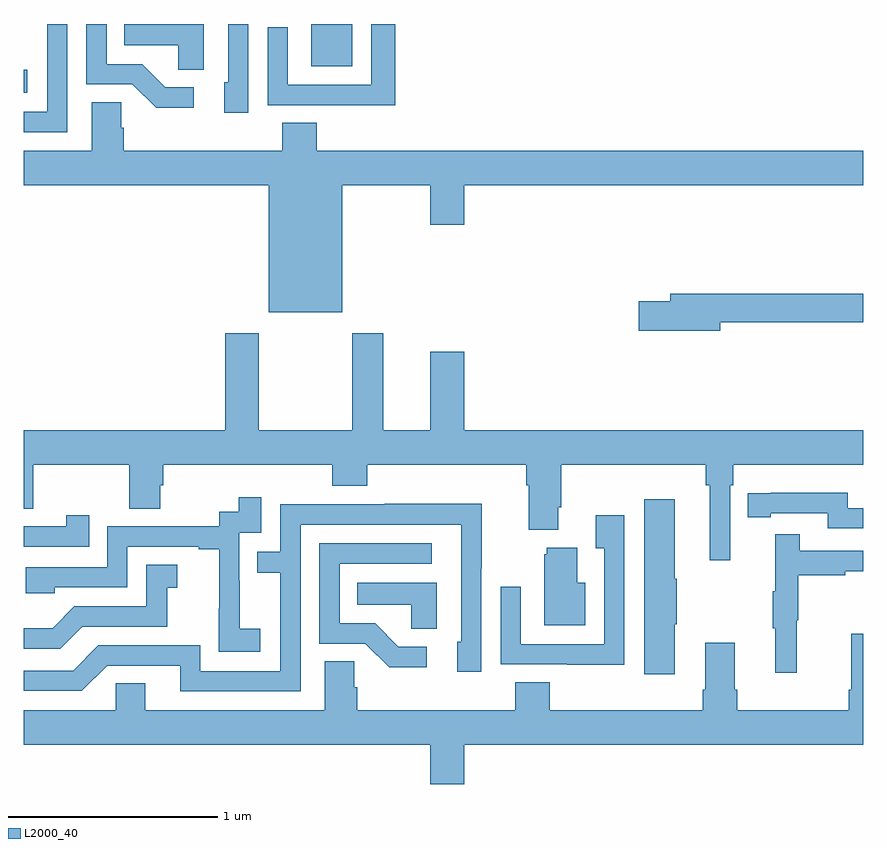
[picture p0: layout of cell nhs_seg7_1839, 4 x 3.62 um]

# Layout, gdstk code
import gdstk
lib = gdstk.Library(unit=1e-6, precision=1e-09)
def R(c, l, rs):  # rectangles x0, y0, x1, y1
    for r in rs: c.add(gdstk.rectangle(r[:2], r[2:], *l))
def P(c, l, *ps):  # polygons
    for p in ps: c.add(gdstk.Polygon(p, *l))
L2000_40 = (2000, 40)

nhs_seg7_1839 = lib.new_cell('nhs_seg7_1839')
R(nhs_seg7_1839, L2000_40, [(235,1051.673,235.018,1051.783), (236.369,1051.799,236.566,1052)])
P(nhs_seg7_1839, L2000_40, [(236.771,1052),(236.655,1052),(236.655,1051.71),(236.259,1051.71),(236.259,1051.984),(236.163,1051.984),(236.163,1051.614),(236.479,1051.614),(236.479,1051.613),(236.771,1051.613)],
  [(235.858,1052),(235.48,1052),(235.48,1051.898),(235.737,1051.898),(235.737,1051.783),(235.858,1051.783)],
  [(235.81,1051.698),(235.675,1051.698),(235.564,1051.809),(235.395,1051.809),(235.395,1052),(235.299,1052),(235.299,1051.713),(235.518,1051.713),(235.631,1051.601),(235.81,1051.601)],
  [(236.07,1052),(235.974,1052),(235.974,1051.722),(235.955,1051.722),(235.955,1051.578),(236.07,1051.578)],
  [(235.209,1052),(235.113,1052),(235.113,1051.581),(235,1051.581),(235,1051.485),(235.209,1051.485)],
  [(236.518,1051.232),(236.936,1051.232),(236.936,1051.044),(237.1,1051.044),(237.1,1051.232),(239,1051.232),(239,1051.396),(236.396,1051.396),(236.396,1051.529),(236.231,1051.529),(236.231,1051.396),(235.478,1051.396),(235.478,1051.505),(235.464,1051.505),(235.464,1051.628),(235.325,1051.628),(235.325,1051.396),(235,1051.396),(235,1051.232),(236.168,1051.232),(236.168,1050.626),(236.518,1050.626)],
  [(238.318,1050.58),(239,1050.58),(239,1050.716),(238.079,1050.716),(238.079,1050.68),(237.93,1050.68),(237.93,1050.538),(238.318,1050.538)],
  [(238.365,1049.804),(238.379,1049.804),(238.379,1049.9),(239,1049.9),(239,1050.064),(237.1,1050.064),(237.1,1050.439),(236.936,1050.439),(236.936,1050.064),(236.713,1050.064),(236.713,1050.526),(236.566,1050.526),(236.566,1050.064),(236.121,1050.064),(236.121,1050.526),(235.961,1050.526),(235.961,1050.064),(235,1050.064),(235,1049.692),(235.047,1049.692),(235.047,1049.9),(235.504,1049.9),(235.504,1049.692),(235.651,1049.692),(235.651,1049.802),(235.664,1049.802),(235.664,1049.9),(236.471,1049.9),(236.471,1049.801),(236.636,1049.801),(236.636,1049.9),(237.395,1049.9),(237.395,1049.804),(237.407,1049.804),(237.407,1049.591),(237.547,1049.591),(237.547,1049.698),(237.56,1049.698),(237.56,1049.9),(238.249,1049.9),(238.249,1049.804),(238.268,1049.804),(238.268,1049.445),(238.365,1049.445)],
  [(239,1049.694),(238.926,1049.694),(238.926,1049.767),(238.558,1049.767),(238.558,1049.766),(238.45,1049.766),(238.45,1049.65),(238.558,1049.65),(238.558,1049.67),(238.83,1049.67),(238.83,1049.598),(239,1049.598)],
  [(236.128,1049.119),(236.03,1049.119),(236.03,1049.348),(236.028,1049.348),(236.028,1049.577),(236.133,1049.577),(236.133,1049.746),(236.025,1049.746),(236.025,1049.676),(235.932,1049.676),(235.932,1049.607),(235.398,1049.607),(235.398,1049.412),(235.009,1049.412),(235.009,1049.289),(235.149,1049.289),(235.149,1049.316),(235.494,1049.316),(235.494,1049.511),(235.835,1049.511),(235.835,1049.499),(235.931,1049.499),(235.931,1049.215),(235.93,1049.215),(235.93,1049.009),(236.128,1049.009)],
  [(238.102,1049.14),(238.11,1049.14),(238.11,1049.357),(238.102,1049.357),(238.102,1049.737),(237.956,1049.737),(237.956,1048.902),(238.102,1048.902)],
  [(236.319,1049.616),(237.084,1049.616),(237.084,1049.058),(237.065,1049.058),(237.065,1048.914),(237.18,1048.914),(237.18,1049.407),(237.183,1049.407),(237.183,1049.714),(236.719,1049.714),(236.719,1049.712),(236.223,1049.712),(236.223,1049.487),(236.113,1049.487),(236.113,1049.386),(236.223,1049.386),(236.223,1048.917),(235.842,1048.917),(235.842,1049.04),(235.356,1049.04),(235.236,1048.92),(235,1048.92),(235,1048.824),(235.278,1048.824),(235.398,1048.944),(235.745,1048.944),(235.745,1048.821),(236.319,1048.821)],
  [(235.313,1049.659),(235.202,1049.659),(235.202,1049.607),(235,1049.607),(235,1049.511),(235.313,1049.511)],
  [(237.861,1049.659),(237.725,1049.659),(237.725,1049.503),(237.765,1049.503),(237.765,1049.046),(237.369,1049.046),(237.369,1049.32),(237.273,1049.32),(237.273,1048.95),(237.589,1048.95),(237.589,1048.949),(237.861,1048.949)],
  [(238.682,1049.16),(238.69,1049.16),(238.69,1049.374),(238.913,1049.374),(238.913,1049.394),(239,1049.394),(239,1049.49),(238.697,1049.49),(238.697,1049.569),(238.58,1049.569),(238.58,1049.297),(238.569,1049.297),(238.569,1049.123),(238.58,1049.123),(238.58,1048.911),(238.682,1048.911)],
  [(236.92,1049.034),(236.785,1049.034),(236.674,1049.145),(236.505,1049.145),(236.505,1049.43),(236.944,1049.43),(236.944,1049.526),(236.409,1049.526),(236.409,1049.049),(236.628,1049.049),(236.741,1048.937),(236.92,1048.937)],
  [(237.676,1049.338),(237.637,1049.338),(237.637,1049.506),(237.491,1049.506),(237.491,1049.475),(237.479,1049.475),(237.479,1049.135),(237.676,1049.135)],
  [(235.279,1049.13),(235.683,1049.13),(235.683,1049.315),(235.732,1049.315),(235.732,1049.425),(235.584,1049.425),(235.584,1049.226),(235.242,1049.226),(235.138,1049.122),(235,1049.122),(235,1049.025),(235.174,1049.025)],
  [(236.968,1049.338),(236.59,1049.338),(236.59,1049.234),(236.847,1049.234),(236.847,1049.119),(236.968,1049.119)],
  [(237.1,1048.568),(239,1048.568),(239,1049.095),(238.943,1049.095),(238.943,1048.828),(238.931,1048.828),(238.931,1048.732),(238.4,1048.732),(238.4,1048.828),(238.387,1048.828),(238.387,1049.053),(238.247,1049.053),(238.247,1048.828),(238.235,1048.828),(238.235,1048.732),(237.506,1048.732),(237.506,1048.865),(237.341,1048.865),(237.341,1048.732),(236.588,1048.732),(236.588,1048.841),(236.574,1048.841),(236.574,1048.964),(236.435,1048.964),(236.435,1048.732),(235.579,1048.732),(235.579,1048.859),(235.44,1048.859),(235.44,1048.732),(235,1048.732),(235,1048.568),(236.936,1048.568),(236.936,1048.38),(237.1,1048.38)])

lib.write_gds('nhs_seg7_1839.gds')
